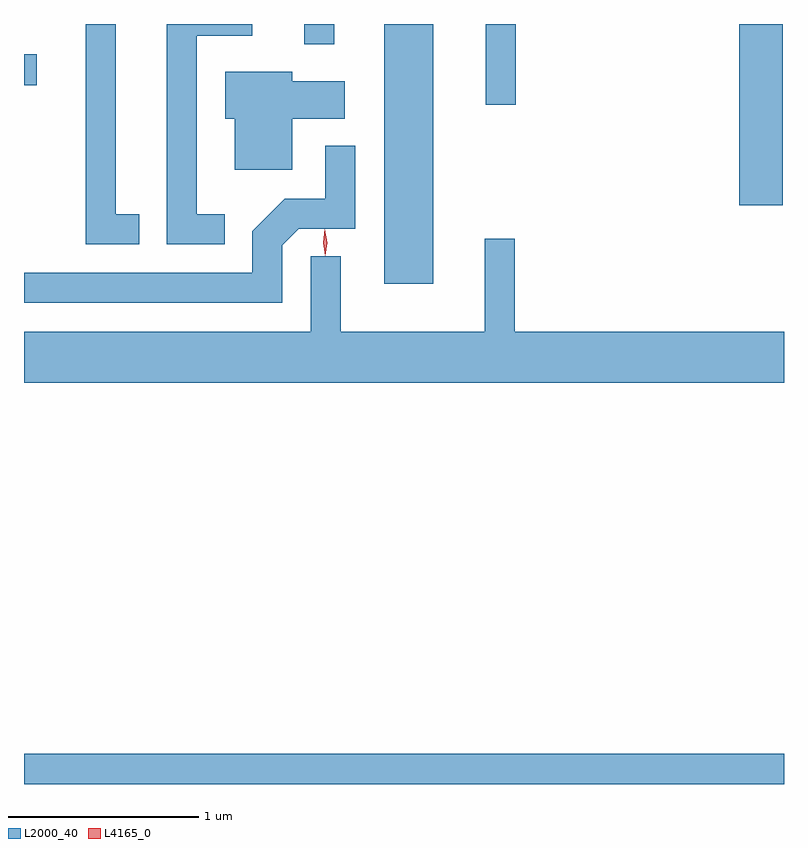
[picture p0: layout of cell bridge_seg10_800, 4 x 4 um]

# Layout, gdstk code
import gdstk
lib = gdstk.Library(unit=1e-6, precision=1e-09)
def R(c, l, rs):  # rectangles x0, y0, x1, y1
    for r in rs: c.add(gdstk.rectangle(r[:2], r[2:], *l))
def P(c, l, *ps):  # polygons
    for p in ps: c.add(gdstk.Polygon(p, *l))
L2000_40 = (2000, 40)
L4165_0 = (4165, 0)

bridge_seg10_800 = lib.new_cell('bridge_seg10_800')
R(bridge_seg10_800, L2000_40, [(378.791,2082.944,382.791,2083.104), (380.686,2085.576,380.944,2086.944), (382.556,2085.991,382.784,2086.944), (381.221,2086.518,381.379,2086.944), (378.791,2086.621,378.858,2086.784), (380.266,2086.838,380.424,2086.944)])
P(bridge_seg10_800, L2000_40, [(379.398,2085.944),(379.274,2085.944),(379.274,2086.944),(379.116,2086.944),(379.116,2085.786),(379.398,2085.786)],
  [(379.848,2085.944),(379.699,2085.944),(379.699,2086.881),(379.993,2086.881),(379.993,2086.944),(379.541,2086.944),(379.541,2085.786),(379.848,2085.786)],
  [(380.204,2086.446),(380.479,2086.446),(380.479,2086.644),(380.204,2086.644),(380.204,2086.694),(379.851,2086.694),(379.851,2086.446),(379.901,2086.446),(379.901,2086.176),(380.204,2086.176)],
  [(380.149,2085.779),(380.237,2085.866),(380.534,2085.866),(380.534,2086.303),(380.376,2086.303),(380.376,2086.024),(380.164,2086.024),(379.991,2085.852),(379.991,2085.634),(378.791,2085.634),(378.791,2085.476),(380.149,2085.476)],
  [(382.791,2085.324),(381.374,2085.324),(381.374,2085.813),(381.216,2085.813),(381.216,2085.324),(380.459,2085.324),(380.459,2085.722),(380.301,2085.722),(380.301,2085.324),(378.791,2085.324),(378.791,2085.056),(382.791,2085.056)])
P(bridge_seg10_800, L4165_0, [(380.377,2085.724),(380.376,2085.725),(380.366,2085.794),(380.374,2085.863),(380.375,2085.863),(380.375,2085.863),(380.386,2085.794),(380.377,2085.725)],
  [(380.377,2085.727),(380.376,2085.728),(380.366,2085.794),(380.374,2085.86),(380.375,2085.861),(380.375,2085.86),(380.386,2085.794),(380.377,2085.728)])

lib.write_gds('bridge_seg10_800.gds')
